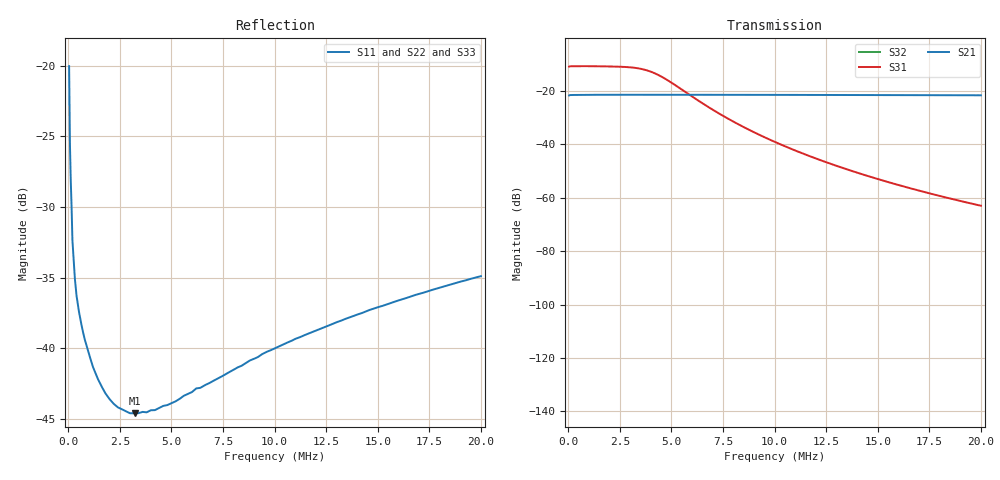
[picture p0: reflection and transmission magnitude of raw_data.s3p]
! Touchstone Ver. 1.0
! Number of ports is 3
# Hz	S	RI	R	50.000000
! SCATTERING PARAMETERS  :
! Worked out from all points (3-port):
!   500 points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, 40 kHz to 20 MHz, reference 50 ohm
!   strongest paths, dB at 40 kHz, 5.04 MHz, 10.04 MHz, 15.04 MHz, 20 MHz:
!     S21: -21.7, -21.4, -21.4, -21.5, -21.6
!     S31: -10.9, -17.1, -39.1, -53.0, -63.0
!     S32: -, -184.5, -193.5, -199.0, -
!   lowest |S11| = -44.6 dB at 3.24 MHz (marker M1), VSWR 1.01, Z = 49.4 - j0.0421 ohm
!   |S11| at or under -10 dB: start of sweep to end of sweep
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40000  -0.0253 0.0963  -2e-14 -4.09e-15  1.02e-19 3.26e-20
       -0.081 -0.0166  -0.0253 0.0963  1.74e-15 -2.31e-14
       0.2814 0.0504  -5.03e-14 -1.42e-13  -0.0253 0.0963
280000  -0.0104 0.0163  -1.02e-12 -3.16e-14  5.3e-18 1.22e-19
        -0.0844 -0.00259  -0.0104 0.0163  2.39e-15 -1.6e-13
        0.289 -0.0404  -3.69e-12 -4.22e-13  -0.0104 0.0163
680000  -0.00871 0.00785  -6.05e-12 -5.34e-14  3.13e-17 1.14e-19
        -0.0847 -0.00068  -0.00871 0.00785  5.14e-15 -3.87e-13
        0.2685 -0.1149  -2.03e-11 6.51e-12  -0.00871 0.00784
2120000  -0.00625 0.00169  -5.91e-11 1.12e-12  3.15e-16 1.54e-17
         -0.0851 0.00182  -0.00626 0.00168  3.94e-14 -1.22e-12
         0.0657 -0.2803  -4.46e-11 2e-10  -0.00626 0.00167
3240000  -0.00588 -0.000426  -1.38e-10 4.86e-12  7.46e-16 3.97e-17
         -0.0851 0.00332  -0.00589 -0.000441  8.06e-14 -1.86e-12
         -0.1553 -0.2227  2.78e-10 3.65e-10  -0.00589 -0.00045
4040000  -0.00581 -0.00167  -2.14e-10 9.96e-12  1.29e-15 3.86e-17
         -0.085 0.00436  -0.00582 -0.00169  1.04e-13 -2.31e-12
         -0.2188 -0.0612  5.91e-10 1.29e-10  -0.00582 -0.0017
5080000  -0.00575 -0.00292  -3.38e-10 2.03e-11  2.14e-15 -5.27e-16
         -0.0849 0.00561  -0.00576 -0.00294  1.38e-13 -2.92e-12
         -0.118 0.0698  4.86e-10 -3.35e-10  -0.00576 -0.00295
1.004e7  -0.0059 -0.00812  -1.31e-09 1.62e-10  5.93e-15 -1.9e-16
         -0.084 0.0114  -0.00591 -0.00816  5.22e-13 -5.81e-12
         0.00487 0.0099  -9.32e-11 -1.89e-10  -0.00591 -0.00819
1.452e7  -0.00615 -0.0121  -2.7e-09 4.87e-10  1.08e-14 7.44e-16
         -0.0825 0.0164  -0.00616 -0.0122  9.76e-13 -8.36e-12
         0.00202 0.00158  -7.26e-11 -9.27e-11  -0.00616 -0.0122
2e7  -0.0065 -0.0168  -4.99e-09 1.24e-09  1.73e-14 4.37e-15
     -0.0802 0.022  -0.00652 -0.0169  1.57e-12 -1.13e-11
     0.000667 0.000249  -3.88e-11 -7.4e-11  -0.00652 -0.0169
